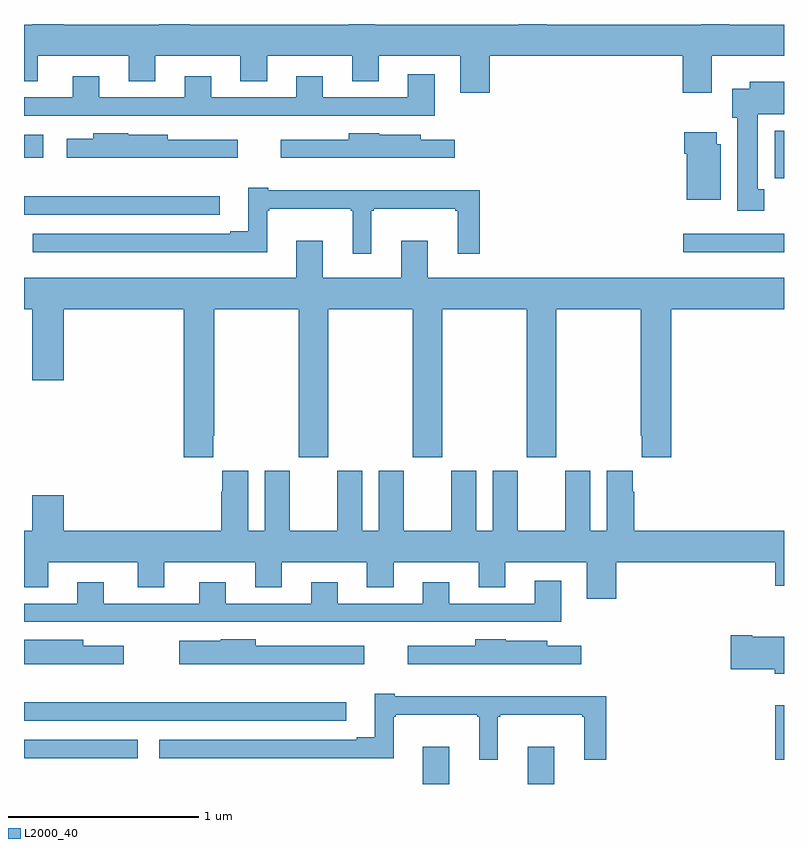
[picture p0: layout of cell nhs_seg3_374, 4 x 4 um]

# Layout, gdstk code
import gdstk
lib = gdstk.Library(unit=1e-6, precision=1e-09)
def R(c, l, rs):  # rectangles x0, y0, x1, y1
    for r in rs: c.add(gdstk.rectangle(r[:2], r[2:], *l))
def P(c, l, *ps):  # polygons
    for p in ps: c.add(gdstk.Polygon(p, *l))
L2000_40 = (2000, 40)

nhs_seg3_374 = lib.new_cell('nhs_seg3_374')
R(nhs_seg3_374, L2000_40, [(131.099,714.4,131.239,714.595), (131.651,714.4,131.791,714.595), (132.953,714.528,133,714.814), (129,714.536,129.598,714.633), (129,714.732,130.696,714.83), (132.471,717.2,133,717.297), (129,717.396,130.03,717.494), (132.951,717.588,133,717.838), (129,717.695,129.102,717.817)])
P(nhs_seg3_374, L2000_40, [(131.45,718.232),(132.467,718.232),(132.467,718.038),(132.619,718.038),(132.619,718.232),(133,718.232),(133,718.396),(132.711,718.396),(132.711,718.4),(132.564,718.4),(132.564,718.396),(131.751,718.396),(131.751,718.4),(131.603,718.4),(131.603,718.396),(130.849,718.396),(130.849,718.4),(130.709,718.4),(130.709,718.396),(129.873,718.396),(129.873,718.4),(129.713,718.4),(129.713,718.396),(129.208,718.396),(129.208,718.4),(129.044,718.4),(129.044,718.396),(129,718.396),(129,718.099),(129.073,718.099),(129.073,718.232),(129.551,718.232),(129.551,718.099),(129.691,718.099),(129.691,718.232),(130.139,718.232),(130.139,718.099),(130.279,718.099),(130.279,718.232),(130.727,718.232),(130.727,718.099),(130.867,718.099),(130.867,718.232),(131.297,718.232),(131.297,718.038),(131.45,718.038)],
  [(131.161,718.135),(131.021,718.135),(131.021,718.014),(130.573,718.014),(130.573,718.126),(130.433,718.126),(130.433,718.014),(129.985,718.014),(129.985,718.126),(129.845,718.126),(129.845,718.014),(129.397,718.014),(129.397,718.126),(129.257,718.126),(129.257,718.014),(129,718.014),(129,717.918),(131.161,717.918)],
  [(132.895,717.529),(132.862,717.529),(132.862,717.926),(133,717.926),(133,718.096),(132.821,718.096),(132.821,718.06),(132.728,718.06),(132.728,717.906),(132.755,717.906),(132.755,717.417),(132.895,717.417)],
  [(132.667,717.768),(132.646,717.768),(132.646,717.829),(132.476,717.829),(132.476,717.716),(132.488,717.716),(132.488,717.476),(132.667,717.476)],
  [(131.266,717.792),(131.088,717.792),(131.088,717.817),(130.869,717.817),(130.869,717.826),(130.709,717.826),(130.709,717.792),(130.352,717.792),(130.352,717.695),(131.266,717.695)],
  [(130.126,717.792),(129.756,717.792),(129.756,717.817),(129.549,717.817),(129.549,717.826),(129.365,717.826),(129.365,717.796),(129.225,717.796),(129.225,717.695),(130.126,717.695)],
  [(130.828,717.417),(130.84,717.417),(130.84,717.428),(131.271,717.428),(131.271,717.417),(131.282,717.417),(131.282,717.192),(131.399,717.192),(131.399,717.526),(130.285,717.526),(130.285,717.538),(130.181,717.538),(130.181,717.31),(130.085,717.31),(130.085,717.297),(129.045,717.297),(129.045,717.2),(130.279,717.2),(130.279,717.417),(130.291,717.417),(130.291,717.428),(130.719,717.428),(130.719,717.417),(130.73,717.417),(130.73,717.192),(130.828,717.192)],
  [(131.047,716.121),(131.202,716.121),(131.202,716.9),(131.647,716.9),(131.647,716.121),(131.802,716.121),(131.802,716.9),(132.247,716.9),(132.247,716.233),(132.251,716.233),(132.251,716.121),(132.407,716.121),(132.407,716.9),(133,716.9),(133,717.064),(131.125,717.064),(131.125,717.259),(130.985,717.259),(130.985,717.064),(130.573,717.064),(130.573,717.259),(130.433,717.259),(130.433,717.064),(129,717.064),(129,716.9),(129.044,716.9),(129.044,716.526),(129.208,716.526),(129.208,716.9),(129.842,716.9),(129.842,716.121),(129.997,716.121),(129.997,716.233),(130.002,716.233),(130.002,716.9),(130.447,716.9),(130.447,716.121),(130.602,716.121),(130.602,716.9),(131.047,716.9)],
  [(132.116,715.568),(132.953,715.568),(132.953,715.444),(133,715.444),(133,715.732),(132.212,715.732),(132.212,715.937),(132.205,715.937),(132.205,716.05),(132.068,716.05),(132.068,715.732),(131.98,715.732),(131.98,716.05),(131.849,716.05),(131.849,715.732),(131.599,715.732),(131.599,716.05),(131.468,716.05),(131.468,715.732),(131.38,715.732),(131.38,716.05),(131.249,716.05),(131.249,715.732),(130.999,715.732),(130.999,716.05),(130.868,716.05),(130.868,715.732),(130.78,715.732),(130.78,716.05),(130.649,716.05),(130.649,715.732),(130.399,715.732),(130.399,716.05),(130.268,716.05),(130.268,715.732),(130.18,715.732),(130.18,716.05),(130.043,716.05),(130.043,715.937),(130.037,715.937),(130.037,715.732),(129.208,715.732),(129.208,715.921),(129.044,715.921),(129.044,715.732),(129,715.732),(129,715.435),(129.127,715.435),(129.127,715.568),(129.599,715.568),(129.599,715.435),(129.739,715.435),(129.739,715.568),(130.217,715.568),(130.217,715.435),(130.357,715.435),(130.357,715.568),(130.805,715.568),(130.805,715.435),(130.945,715.435),(130.945,715.568),(131.393,715.568),(131.393,715.435),(131.533,715.435),(131.533,715.568),(131.963,715.568),(131.963,715.374),(132.116,715.374)],
  [(131.827,715.471),(131.687,715.471),(131.687,715.35),(131.239,715.35),(131.239,715.462),(131.099,715.462),(131.099,715.35),(130.651,715.35),(130.651,715.462),(130.511,715.462),(130.511,715.35),(130.063,715.35),(130.063,715.462),(129.923,715.462),(129.923,715.35),(129.421,715.35),(129.421,715.462),(129.281,715.462),(129.281,715.35),(129,715.35),(129,715.254),(131.827,715.254)],
  [(133,715.174),(132.832,715.174),(132.832,715.182),(132.72,715.182),(132.72,715.004),(132.95,715.004),(132.95,714.98),(133,714.98)],
  [(131.932,715.128),(131.754,715.128),(131.754,715.153),(131.535,715.153),(131.535,715.162),(131.375,715.162),(131.375,715.128),(131.019,715.128),(131.019,715.031),(131.932,715.031)],
  [(130.792,715.128),(130.219,715.128),(130.219,715.162),(130.035,715.162),(130.035,715.153),(129.816,715.153),(129.816,715.031),(130.792,715.031)],
  [(129.526,715.128),(129.312,715.128),(129.312,715.159),(129,715.159),(129,715.031),(129.526,715.031)],
  [(131.494,714.753),(131.506,714.753),(131.506,714.764),(131.937,714.764),(131.937,714.753),(131.948,714.753),(131.948,714.528),(132.065,714.528),(132.065,714.862),(130.951,714.862),(130.951,714.874),(130.847,714.874),(130.847,714.646),(130.751,714.646),(130.751,714.633),(129.711,714.633),(129.711,714.536),(130.945,714.536),(130.945,714.753),(130.957,714.753),(130.957,714.764),(131.385,714.764),(131.385,714.753),(131.396,714.753),(131.396,714.528),(131.494,714.528)])

lib.write_gds('nhs_seg3_374.gds')
